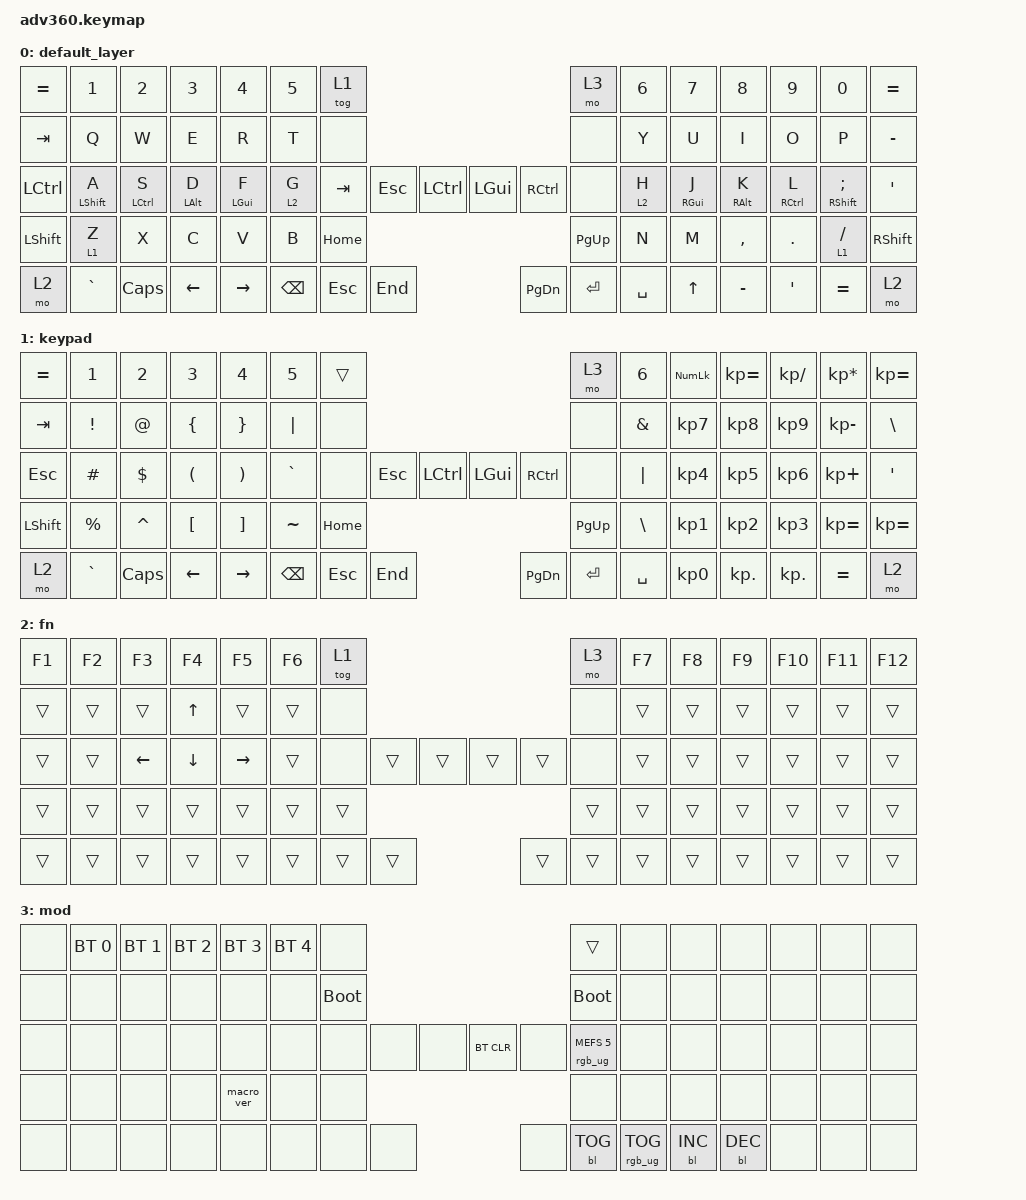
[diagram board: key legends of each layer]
#include <behaviors.dtsi>
#include <dt-bindings/zmk/keys.h>
#include <dt-bindings/zmk/bt.h>
#include <dt-bindings/zmk/rgb.h>
#include <dt-bindings/zmk/backlight.h>

/ {
    behaviors {
      #include "macros.dtsi"
      #include "version.dtsi"
      #ifndef VERSION_MACRO
      macro_ver: macro_ver {
        compatible = "zmk,behavior-macro";
        label = "macro_version";
        #binding-cells = <0>;
        bindings = <&kp RET>;
      };
      #endif

      hm: homerow_mods {
          compatible = "zmk,behavior-hold-tap";
          label = "HOMEROW_MODS";
          #binding-cells = <2>;
          tapping-term-ms = <200>;
          quick_tap_ms = <175>;
          flavor = "tap-preferred";
          bindings = <&kp>, <&kp>;
      };     

      bhm: balanced_homerow_mods {
            compatible = "zmk,behavior-hold-tap";
            label = "BHOMEROW_MODS";
            #binding-cells = <2>;
            tapping-term-ms = <170>;    // <---[[moderate duration]]
            quick-tap-ms = <0>;
            flavor = "balanced";
            bindings = <&kp>, <&kp>;
            retro-tap;
       };
       
       ltb: balanced_layer_mods {
            compatible = "zmk,behavior-hold-tap";
            label = "BALANCED_LAYER_MODS";
            #binding-cells = <2>;
            tapping-term-ms = <170>;    // <---[[moderate duration]]
            quick-tap-ms = <0>;
            flavor = "balanced";
            bindings = <&mo>, <&kp>;
            retro-tap;
       };

    };

  keymap {
    compatible = "zmk,keymap";

    default_layer {
      bindings = <
        &kp EQUAL &kp N1    &kp N2   &kp N3   &kp N4     &kp N5 &tog 1                                                           &mo 3 &kp N6 &kp N7 &kp N8    &kp N9   &kp N0   &kp EQUAL
        &kp TAB   &kp Q     &kp W    &kp E    &kp R      &kp T  &none                                                            &none &kp Y  &kp U  &kp I     &kp O    &kp P    &kp MINUS
        &kp LCTRL   &bhm LSHFT A     &hm LCTRL S    &hm LALT D    &hm LGUI F  &lt 2 G  &kp TAB     &kp ESC &kp LCTRL &kp LGUI  &kp RCTRL    &none &lt 2 H  &hm RGUI J  &hm RALT K     &hm RCTRL L    &bhm RSHFT SEMI &kp QUOT
        &kp LSHFT &ltb 1 Z     &kp X    &kp C    &kp V      &kp B                            &kp HOME &kp PG_UP                           &kp N  &kp M  &kp COMMA &kp DOT  &ltb 1 FSLH &kp RSHFT
        &mo 2     &kp GRAVE &kp CAPS &kp LEFT &kp RIGHT                &kp BSPC &kp ESC   &kp END  &kp PG_DN &kp ENTER &kp SPACE              &kp UP &kp MINUS  &kp QUOT &kp EQUAL &mo 2
      >;
    };
    keypad {
      bindings = <
        &kp EQUAL &kp N1    &kp N2   &kp N3   &kp N4     &kp N5 &trans                                                           &mo 3 &kp N6 &kp KP_NUM &kp KP_EQUAL &kp KP_DIVIDE &kp KP_MULTIPLY &kp KP_EQUAL
        &kp TAB   &kp EXCL  &kp AT   &kp LBRC &kp RBRC   &kp PIPE  &none                                                         &none &kp AMPS   &kp KP_N7  &kp KP_N8    &kp KP_N9     &kp KP_MINUS    &kp BSLH
        &kp ESC   &kp HASH  &kp DLLR &kp LPAR &kp RPAR   &kp GRAVE &none          &kp ESC &kp LCTRL &kp LGUI  &kp RCTRL           &none &kp PIPE  &kp KP_N4  &kp KP_N5    &kp KP_N6     &kp KP_PLUS     &kp SQT
        &kp LSHFT &kp PRCNT &kp CARET &kp LBKT &kp RBKT  &kp TILDE                  &kp HOME &kp PG_UP                                 &kp BSLH   &kp KP_N1  &kp KP_N2    &kp KP_N3     &kp KP_EQUAL    &kp KP_EQUAL
        &mo 2     &kp GRAVE &kp CAPS &kp LEFT &kp RIGHT                &kp BSPC &kp ESC   &kp END  &kp PG_DN &kp ENTER &kp SPACE                  &kp KP_N0   &kp KP_DOT     &kp KP_DOT    &kp EQUAL        &mo 2
      >;
    };
    fn {
      bindings = <
        &kp F1 &kp F2 &kp F3   &kp F4    &kp F5 &kp F6 &tog 1                                           &mo 3 &kp F7 &kp F8 &kp F9 &kp F10 &kp F11 &kp F12
        &trans &trans &trans   &kp UP    &trans &trans  &none                                           &none &trans &trans &trans &trans  &trans  &trans
        &trans &trans &kp LEFT &kp DOWN  &kp RIGHT &trans  &none        &trans &trans &trans &trans        &none &trans &trans &trans &trans  &trans  &trans
        &trans &trans &trans   &trans    &trans &trans                      &trans &trans                     &trans &trans &trans &trans  &trans  &trans
        &trans &trans &trans   &trans    &trans               &trans &trans &trans &trans &trans &trans              &trans &trans &trans  &trans  &trans
      >;
    };
    mod {
      bindings = <
        &none &bt BT_SEL 0 &bt BT_SEL 1 &bt BT_SEL 2 &bt BT_SEL 3 &bt BT_SEL 4 &none                                                                     &trans                 &none        &none        &none        &none &none &none
        &none &none        &none        &none        &none        &none        &bootloader                                                               &bootloader            &none        &none        &none        &none &none &none
        &none &none        &none        &none        &none        &none        &none                   &none &none &bt BT_CLR &none                      &rgb_ug RGB_MEFS_CMD 5 &none        &none        &none        &none &none &none
        &none &none        &none        &none        &macro_ver   &none                                      &none &none                                                        &none        &none        &none        &none &none &none
        &none &none        &none        &none        &none                                       &none &none &none &none      &bl BL_TOG &rgb_ug RGB_TOG                                     &bl BL_INC   &bl BL_DEC   &none &none &none
      >;
    };
  };
};
